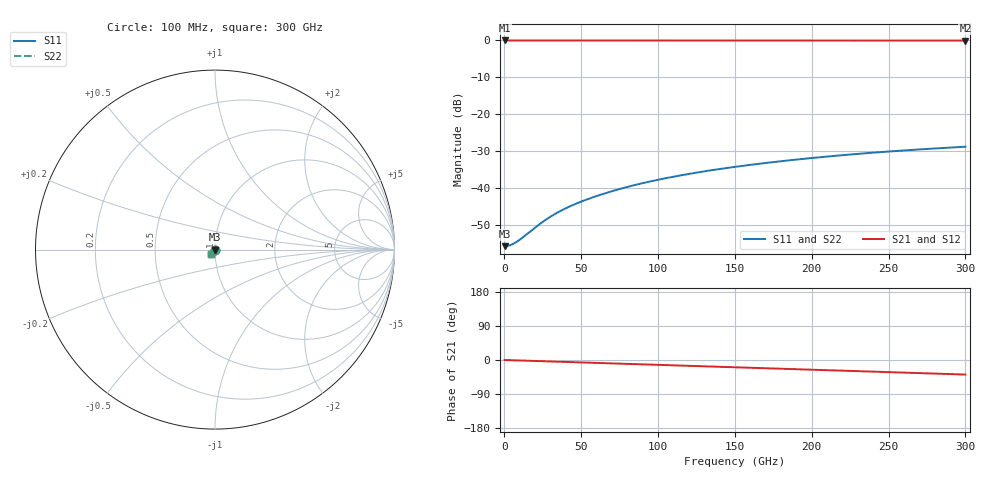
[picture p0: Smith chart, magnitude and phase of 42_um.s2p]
#  Hz  S  RI  R  50
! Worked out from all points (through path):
!   3000 points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, 100 MHz to 300 GHz, reference 50 ohm
!   highest |S21| = -0.01 dB at 100 MHz (marker M1); lowest = -0.1 dB at 300 GHz (marker M2)
!   group delay of S21, straight-line fit = 355 fs
!   lowest |S11| = -55.9 dB at 100 MHz (marker M3), VSWR 1.00, Z = 50.2 - j0.00087 ohm
!   |S11| at or under -10 dB: start of sweep to end of sweep
!   |S22| runs from -55.9 to -28.9 dB; largest |S21 - S12| = 3.1e-07
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1e8  0.00161 -8.67e-06  0.9984 -0.000229  0.9984 -0.000229  0.00161 -8.67e-06
2e9  0.00161 -0.000174  0.9984 -0.00458  0.9984 -0.00458  0.00161 -0.000174
3.8e9  0.00163 -0.000333  0.9983 -0.00869  0.9983 -0.00869  0.00163 -0.000333
5.8e9  0.00166 -0.000514  0.9982 -0.0133  0.9982 -0.0133  0.00166 -0.000514
7.9e9  0.0017 -0.000713  0.9981 -0.018  0.9981 -0.018  0.0017 -0.000713
1.16e10  0.00178 -0.00109  0.9978 -0.0264  0.9978 -0.0264  0.00178 -0.00109
2.39e10  0.00205 -0.00261  0.9962 -0.0538  0.9962 -0.0538  0.00205 -0.00261
2.83e10  0.00209 -0.00323  0.9956 -0.0636  0.9956 -0.0636  0.00209 -0.00323
3.28e10  0.00208 -0.00387  0.9948 -0.0735  0.9948 -0.0735  0.00208 -0.00387
4.09e10  0.00196 -0.00501  0.9933 -0.0914  0.9933 -0.0914  0.00196 -0.00501
5.01e10  0.00174 -0.00626  0.9911 -0.1118  0.9911 -0.1118  0.00174 -0.00626
6.12e10  0.00141 -0.00773  0.9879 -0.1363  0.9879 -0.1363  0.00141 -0.00773
7.37e10  0.000937 -0.00939  0.9835 -0.1636  0.9835 -0.1636  0.000937 -0.00939
8.64e10  0.00031 -0.0111  0.9784 -0.1914  0.9784 -0.1914  0.00031 -0.0111
1.001e11  -0.000514 -0.0128  0.9719 -0.2211  0.9719 -0.2211  -0.000514 -0.0128
1.242e11  -0.00227 -0.0158  0.9584 -0.2729  0.9584 -0.2729  -0.00227 -0.0158
1.501e11  -0.00461 -0.0186  0.9407 -0.3276  0.9407 -0.3276  -0.00461 -0.0186
1.744e11  -0.00716 -0.021  0.9214 -0.3779  0.9214 -0.3779  -0.00716 -0.021
2.001e11  -0.0102 -0.0232  0.8979 -0.43  0.8979 -0.43  -0.0102 -0.0232
2.256e11  -0.0135 -0.0249  0.8716 -0.4803  0.8716 -0.4803  -0.0135 -0.0249
2.501e11  -0.0168 -0.026  0.8437 -0.5271  0.8437 -0.5271  -0.0168 -0.026
3e11  -0.0237 -0.0271  0.7788 -0.6171  0.7788 -0.6171  -0.0237 -0.0271
